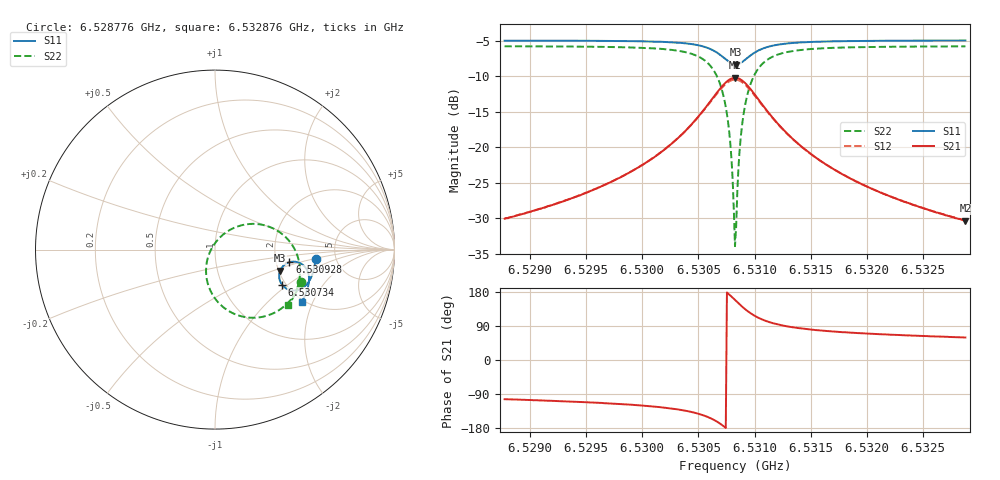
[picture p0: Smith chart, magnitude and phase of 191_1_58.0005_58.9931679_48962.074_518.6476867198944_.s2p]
#  HZ  S  RI  R  50.00
! Rohde & Schwarz Vector Network Analyzer
! Rohde-Schwarz,ZNB20-2Port,1311601062101988,3.16
! Created: UTC 3/21/2024, 12:58:50 AM
! freq[Hz]  re:S11  im:S11  re:S21  im:S21  re:S12  im:S12  re:S22  im:S22
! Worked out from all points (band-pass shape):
!   401 points, 6.528776 GHz to 6.532876 GHz, reference 50 ohm
!   highest |S21| = -10.22 dB at 6.530826 GHz (marker M1); lowest = -30.4 dB at 6.532876 GHz (marker M2)
!   |S21| within 3 dB of the highest: 6.530622 GHz to 6.531032 GHz (410 kHz wide, 0.00628 % of centre)
!   lowest |S11| = -8.4 dB at 6.530836 GHz (marker M3), VSWR 2.23, Z = 102 - j28 ohm
!   |S11| at or under -10 dB: nowhere
!   |S22| runs from -33.9 to -5.8 dB; largest |S21 - S12| = 0.012
!   S11 on the Smith chart (normalised r, x): 6.528776 GHz: 3.49, -0.51; 6.530734 GHz: 1.91, -0.91; 6.530928 GHz: 2.37, -0.40; 6.532876 GHz: 1.92, -1.66
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6.5287757e9  0.5604 -0.0501  -0.00729 -0.0305  -0.00781 -0.0302  0.4816 -0.1783
6.5294625e9  0.5512 -0.1076  -0.0167 -0.0433  -0.0177 -0.043  0.4498 -0.2415
6.5301493e9  0.5241 -0.1767  -0.0505 -0.0745  -0.0526 -0.0731  0.367 -0.3304
6.5303851e9  0.4975 -0.2072  -0.0902 -0.0941  -0.0932 -0.0909  0.2854 -0.3695
6.5305593e9  0.4539 -0.2272  -0.1586 -0.1007  -0.1611 -0.0941  0.1591 -0.3744
6.5306618e9  0.4089 -0.2226  -0.2286 -0.0743  -0.2279 -0.0645  0.0418 -0.3171
6.5307336e9  0.3734 -0.1956  -0.2803 -0.0157  -0.2744 -0.0054  -0.0339 -0.2084
6.5307746e9  0.3599 -0.1676  -0.2964 0.0374  -0.2873 0.0458  -0.05 -0.1173
6.5307849e9  0.3583 -0.1595  -0.2975 0.0523  -0.2877 0.0599  -0.0488 -0.0926
6.5308156e9  0.3583 -0.1341  -0.2916 0.0982  -0.2807 0.103  -0.0304 -0.0186
6.5308259e9  0.3603 -0.1256  -0.2867 0.1132  -0.2755 0.117  -0.0195 0.00477
6.5308361e9  0.363 -0.1174  -0.2802 0.1276  -0.2692 0.1303  -0.00599 0.0269
6.5308464e9  0.3666 -0.1095  -0.2725 0.1411  -0.2614 0.143  0.00907 0.0476
6.5308771e9  0.3818 -0.0896  -0.2426 0.1758  -0.2326 0.1749  0.0647 0.0983
6.5308976e9  0.3944 -0.0795  -0.219 0.1925  -0.2101 0.1906  0.1066 0.1214
6.5309284e9  0.4148 -0.0703  -0.1818 0.2083  -0.1749 0.2051  0.1705 0.14
6.5310001e9  0.4582 -0.0695  -0.1064 0.2106  -0.1025 0.2073  0.2979 0.1287
6.5311026e9  0.4962 -0.0912  -0.0409 0.1795  -0.0391 0.1778  0.4027 0.0601
6.5312564e9  0.5185 -0.1272  -0.00148 0.1328  -0.00022 0.132  0.4599 -0.0356
6.5315127e9  0.5243 -0.1706  0.0154 0.0868  0.0164 0.0864  0.4735 -0.1335
6.5321995e9  0.5071 -0.2422  0.0177 0.0416  0.0185 0.0414  0.4443 -0.2497
6.532876e9  0.4821 -0.2936  0.0154 0.0261  0.016 0.0259  0.4091 -0.3094
